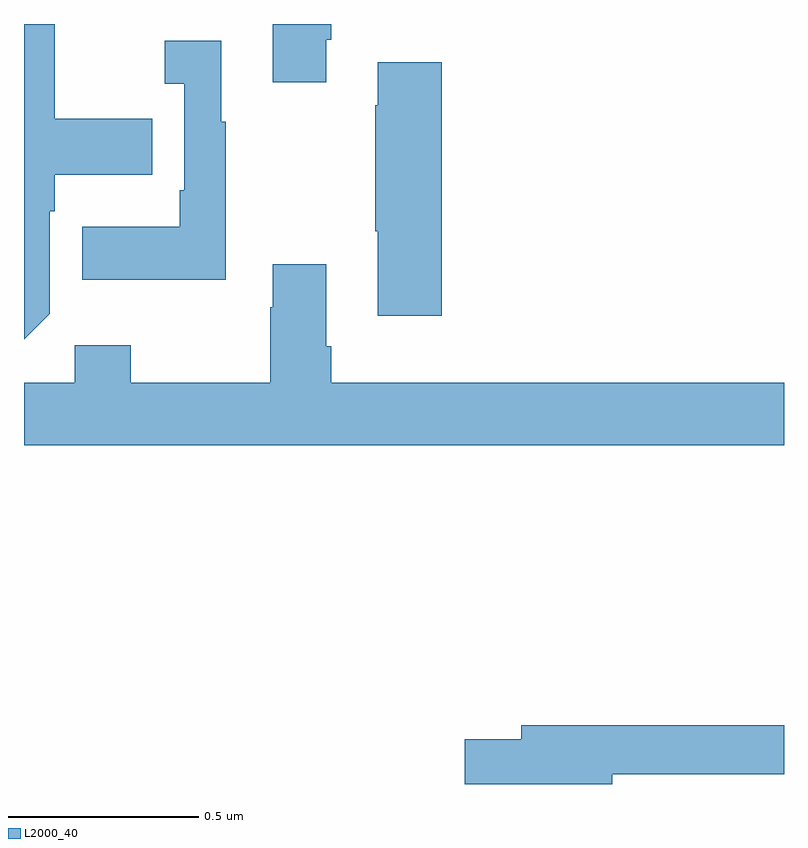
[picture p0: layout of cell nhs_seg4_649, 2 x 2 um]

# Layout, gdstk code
import gdstk
lib = gdstk.Library(unit=1e-6, precision=1e-09)
def P(c, l, *ps):  # polygons
    for p in ps: c.add(gdstk.Polygon(p, *l))
L2000_40 = (2000, 40)

nhs_seg4_649 = lib.new_cell('nhs_seg4_649')
P(nhs_seg4_649, L2000_40, [(118.795,825.859),(118.808,825.859),(118.808,825.9),(118.655,825.9),(118.655,825.747),(118.795,825.747)],
  [(118.068,825.138),(118.068,825.407),(118.081,825.407),(118.081,825.503),(118.337,825.503),(118.337,825.651),(118.081,825.651),(118.081,825.9),(118,825.9),(118,825.07)],
  [(118.531,825.643),(118.519,825.643),(118.519,825.856),(118.371,825.856),(118.371,825.743),(118.422,825.743),(118.422,825.463),(118.41,825.463),(118.41,825.367),(118.153,825.367),(118.153,825.227),(118.531,825.227)],
  [(119.099,825.799),(118.931,825.799),(118.931,825.686),(118.924,825.686),(118.924,825.355),(118.931,825.355),(118.931,825.132),(119.099,825.132)],
  [(120,824.956),(118.808,824.956),(118.808,825.052),(118.795,825.052),(118.795,825.268),(118.655,825.268),(118.655,825.155),(118.648,825.155),(118.648,824.956),(118.281,824.956),(118.281,825.055),(118.134,825.055),(118.134,824.956),(118,824.956),(118,824.792),(120,824.792)],
  [(119.548,823.926),(120,823.926),(120,824.054),(119.309,824.054),(119.309,824.018),(119.16,824.018),(119.16,823.9),(119.548,823.9)])

lib.write_gds('nhs_seg4_649.gds')
